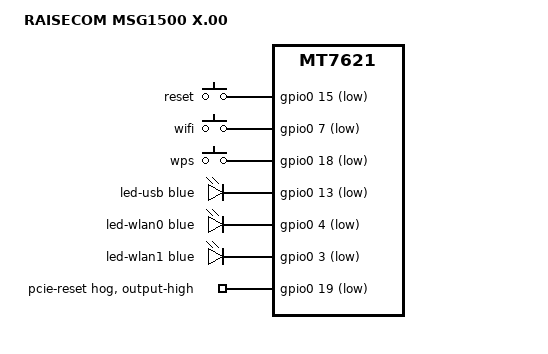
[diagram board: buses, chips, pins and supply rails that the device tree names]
// SPDX-License-Identifier: GPL-2.0-or-later

/dts-v1/;

#include "mt7621.dtsi"

#include <dt-bindings/gpio/gpio.h>
#include <dt-bindings/input/input.h>
#include <dt-bindings/leds/common.h>

/ {
	compatible = "raisecom,msg1500-x-00", "mediatek,mt7621-soc";
	model = "RAISECOM MSG1500 X.00";

	/delete-node/ clock-48m;
	/delete-node/ clock-50m;
	/delete-node/ watchdog@1e000100;
	/delete-node/ spi@1e000b00;
	/delete-node/ serial@1e000d00;
	/delete-node/ serial@1e000e00;
	/delete-node/ mmc@1e130000;
	/delete-node/ usb@1e1c0000;
	/delete-node/ usb-phy@1e1d0000;

	aliases {
		serial0 = &uart0;
	};

	chosen {
		stdout-path = "serial0:115200n8";
	};

	gpio-keys {
		compatible = "gpio-keys";

		button-reset {
			label = "reset";
			linux,code = <KEY_RESTART>;
			gpios = <&gpio0 15 GPIO_ACTIVE_LOW>;
		};

		button-wifi {
			label = "wifi";
			linux,code = <KEY_RFKILL>;
			gpios = <&gpio0 7 GPIO_ACTIVE_LOW>;
		};

		button-wps {
			label = "wps";
			linux,code = <KEY_WPS_BUTTON>;
			gpios = <&gpio0 18 GPIO_ACTIVE_LOW>;
		};
	};

	gpio-leds {
		compatible = "gpio-leds";

		led-usb {
			color = <LED_COLOR_ID_BLUE>;
			function = LED_FUNCTION_USB;
			gpios = <&gpio0 13 GPIO_ACTIVE_LOW>;
			default-state = "on";
		};

		led-wlan0 {
			color = <LED_COLOR_ID_BLUE>;
			function = LED_FUNCTION_WLAN;
			function-enumerator = <0>;
			gpios = <&gpio0 4 GPIO_ACTIVE_LOW>;
			default-state = "off";
		};

		led-wlan1 {
			color = <LED_COLOR_ID_BLUE>;
			function = LED_FUNCTION_WLAN;
			function-enumerator = <1>;
			gpios = <&gpio0 3 GPIO_ACTIVE_LOW>;
			default-state = "off";
		};
	};

	options {
		u-boot {
			compatible = "u-boot,config";
			boot-btn1 = "reset";
			boot-btn2 = "wps";
			boot-led1 = "blue:usb";
			bootcmd_1-1 = "tftp_boot_ik";
			bootcmd_1-2 = "tftp_update_fw";
			bootcmd_1-3 = "switch_console";
			bootcmd_1-4 = "switch_ubi";
			bootcmd_2-1 = "tftp_boot_ik";
			bootcmd_2-2 = "tftp_update_fw";
			bootcmd_2-3 = "switch_console";
			bootcmd_2-4 = "env init";
		};
	};
};

&gpio0 {
	pcie-reset {
		gpio-hog;
		gpios = <19 GPIO_ACTIVE_LOW>;
		output-high;
	};
};

&pinctrl {
	pinctrl-0 = <&state_default>, <&nand_pins>;

	/delete-node/ uart2_pins;
	/delete-node/ uart3_pins;
	/delete-node/ sdxc_pins;
	/delete-node/ spi_pins;
};

&state_default {
	/delete-node/ rgmii2-gpio_pins;
	/delete-node/ sdxc-gpio_pins;
};
